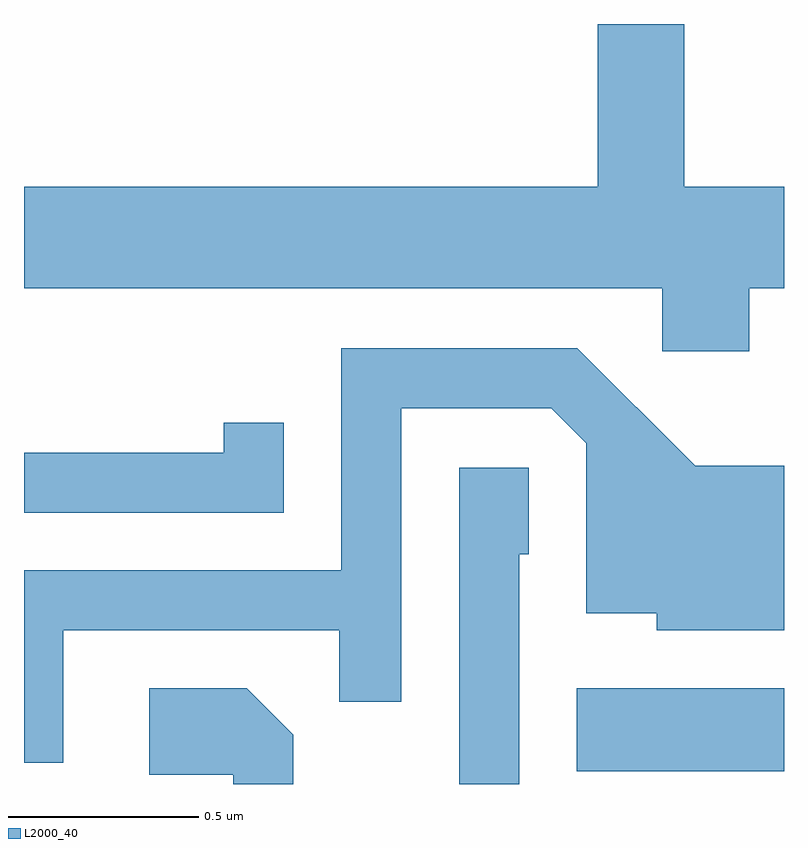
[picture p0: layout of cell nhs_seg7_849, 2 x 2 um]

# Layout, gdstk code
import gdstk
lib = gdstk.Library(unit=1e-6, precision=1e-09)
def R(c, l, rs):  # rectangles x0, y0, x1, y1
    for r in rs: c.add(gdstk.rectangle(r[:2], r[2:], *l))
def P(c, l, *ps):  # polygons
    for p in ps: c.add(gdstk.Polygon(p, *l))
L2000_40 = (2000, 40)

nhs_seg7_849 = lib.new_cell('nhs_seg7_849')
R(nhs_seg7_849, L2000_40, [(193.066,1695.286,193.611,1695.504)])
P(nhs_seg7_849, L2000_40, [(193.519,1696.556),(193.611,1696.556),(193.611,1696.824),(193.349,1696.824),(193.349,1697.252),(193.121,1697.252),(193.121,1696.824),(191.611,1696.824),(191.611,1696.556),(193.291,1696.556),(193.291,1696.391),(193.519,1696.391)],
  [(191.714,1695.656),(192.441,1695.656),(192.441,1695.468),(192.604,1695.468),(192.604,1696.241),(192.999,1696.241),(193.091,1696.149),(193.091,1695.701),(193.276,1695.701),(193.276,1695.656),(193.611,1695.656),(193.611,1696.089),(193.377,1696.089),(193.067,1696.399),(192.446,1696.399),(192.446,1695.814),(191.611,1695.814),(191.611,1695.308),(191.714,1695.308)],
  [(192.294,1696.203),(192.136,1696.203),(192.136,1696.124),(191.611,1696.124),(191.611,1695.966),(192.294,1695.966)],
  [(192.914,1695.856),(192.939,1695.856),(192.939,1696.084),(192.756,1696.084),(192.756,1695.252),(192.914,1695.252)],
  [(192.319,1695.382),(192.197,1695.504),(191.941,1695.504),(191.941,1695.276),(192.161,1695.276),(192.161,1695.252),(192.319,1695.252)])

lib.write_gds('nhs_seg7_849.gds')
